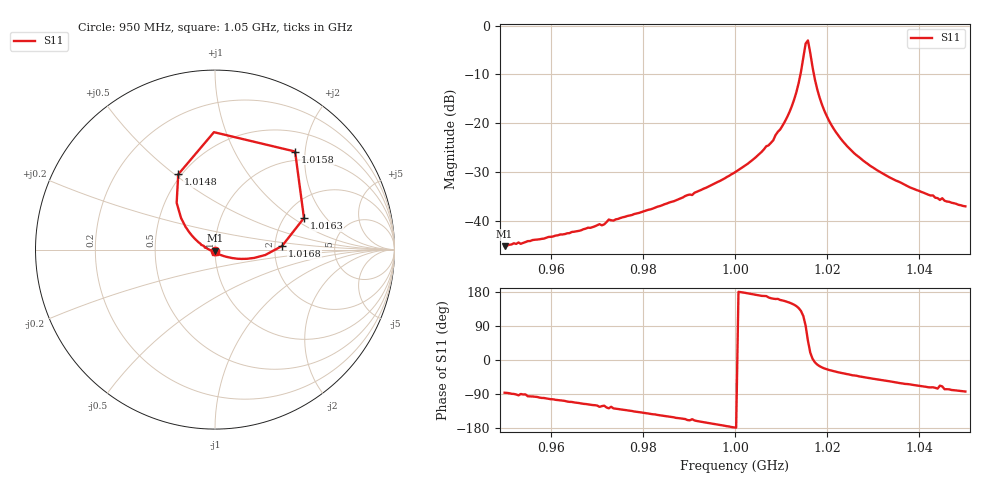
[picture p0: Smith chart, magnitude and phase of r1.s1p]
! ListType=Lin
# MHz S DB R 50
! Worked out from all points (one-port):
!   200 points, 950 MHz to 1.05 GHz, reference 50 ohm
!   lowest |S11| = -45.2 dB at 950 MHz (marker M1), VSWR 1.01, Z = 50 - j0.546 ohm
!   |S11| at or under -10 dB: start of sweep to 1.0142 GHz; 1.0171 GHz to end of sweep
!   S11 on the Smith chart (normalised r, x): 950 MHz: 1.00, -0.01; 1.0148 GHz: 0.48, +0.52; 1.0158 GHz: 0.83, +1.81; 1.0163 GHz: 2.54, +1.23; 1.0168 GHz: 2.19, +0.10; 1.05 GHz: 1.00, -0.03
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950  -45.24 -86.4
962.5628  -42.84 -107.3
971.1055  -40.97 -121.8
972.6131  -39.77 -127.5
975.1256  -39.46 -129.9
987.6884  -35.65 -153.3
990.7035  -34.74 -156.2
1000.251  -29.93 -178.7
1004.271  -27.19 -187.3
1008.291  -23.53 -198.2
1010.804  -19.70 -204.5
1012.814  -15.22 -214.0
1013.819  -11.75 -222.9
1014.322  -9.45 -230.7
1014.824  -6.62 -244.0
1015.327  -3.69 -269.5
1015.829  -3.03 -309.2
1016.332  -5.58 -340.5
1016.834  -8.54 -356.9
1017.839  -13.03 -372.0
1019.849  -18.42 -384.1
1021.859  -21.79 -390.8
1025.377  -25.75 -400.0
1030.905  -29.70 -411.2
1037.94  -33.18 -424.3
1044.472  -35.75 -427.7
1044.975  -35.40 -429.7
1050  -37.07 -443.2
